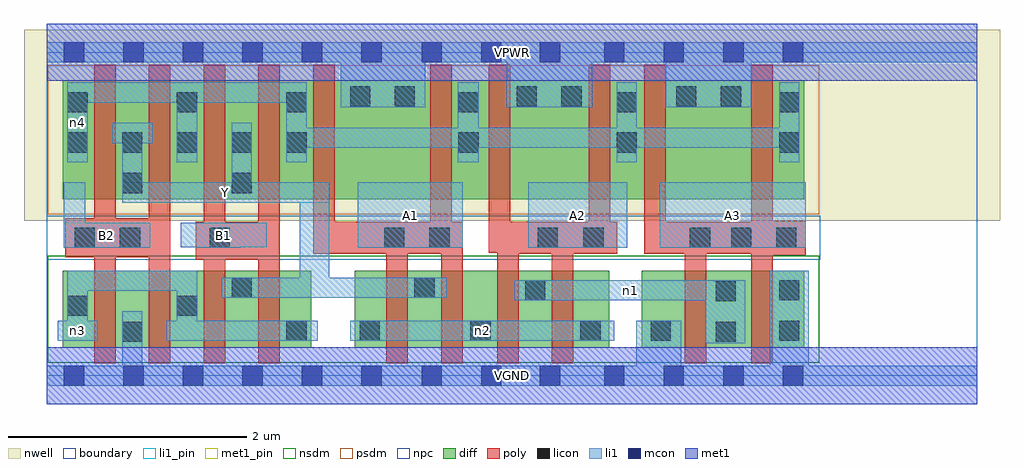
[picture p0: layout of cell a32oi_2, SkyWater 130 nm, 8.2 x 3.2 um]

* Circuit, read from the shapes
.subckt a32oi_2 A1 A2 A3 B1 B2 VGND VPWR Y n1 n2 n3 n4
XM1 VGND B2 n3 VSUBS sky130_fd_pr__nfet_01v8 w=0.65 l=0.18 m=2
XM2 Y B1 n3 VSUBS sky130_fd_pr__nfet_01v8 w=0.65 l=0.18 m=2
XM3 Y A1 n2 VSUBS sky130_fd_pr__nfet_01v8 w=0.65 l=0.18 m=2
XM4 n1 A2 n2 VSUBS sky130_fd_pr__nfet_01v8 w=0.65 l=0.18 m=2
XM5 n1 A3 VGND VSUBS sky130_fd_pr__nfet_01v8 w=0.65 l=0.18 m=2
XM6 Y B2 n4 n5 sky130_fd_pr__pfet_01v8 w=1 l=0.18 m=2
XM7 Y B1 n4 n5 sky130_fd_pr__pfet_01v8 w=1 l=0.18 m=2
XM8 VPWR A1 n4 n5 sky130_fd_pr__pfet_01v8 w=1 l=0.18 m=2
XM9 VPWR A2 n4 n5 sky130_fd_pr__pfet_01v8 w=1 l=0.18 m=2
XM10 VPWR A3 n4 n5 sky130_fd_pr__pfet_01v8 w=1 l=0.18 m=2
.ends

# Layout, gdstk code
import gdstk
lib = gdstk.Library(unit=1e-6, precision=1e-09)
def R(c, l, rs):  # rectangles x0, y0, x1, y1
    for r in rs: c.add(gdstk.rectangle(r[:2], r[2:], *l))
def A(c, l, x, y, w, h, nx, ny, dx, dy):  # array of equal rectangles
    R(c, l, [(x+i*dx, y+j*dy, x+i*dx+w, y+j*dy+h) for i in range(nx) for j in range(ny)])
nwell = (64, 20)
diff = (65, 20)
poly = (66, 20)
licon = (66, 44)
li1_pin = (67, 16)
li1 = (67, 20)
mcon = (67, 44)
met1_pin = (68, 16)
met1 = (68, 20)
nsdm = (93, 44)
psdm = (94, 20)
npc = (95, 20)
boundary = (235, 4)

a32oi_2 = lib.new_cell('a32oi_2')
R(a32oi_2, nwell, [(-0.19,1.305,8.01,2.91), (0,1.305,7.82,2.91)])
R(a32oi_2, diff, [(0.135,0.235,2.225,0.885), (2.59,0.235,4.725,0.885), (5,0.235,6.365,0.885), (0.135,1.485,6.365,2.485)])
A(a32oi_2, poly, 0.4, 0.105, 0.18, 2.51, 4, 1, 0.46, 0)
R(a32oi_2, poly, [(2.855,0.105,3.035,1.295), (3.315,0.105,3.495,1.295), (3.785,0.105,3.965,1.295), (4.245,0.105,4.425,1.295), (5.36,0.105,5.54,1.295), (5.92,0.105,6.1,2.615), (1.255,0.975,1.96,1.295), (0.155,0.995,1.04,1.325), (5.92,1.015,6.38,1.305), (2.24,1.025,3.495,1.295), (2.24,1.025,2.42,2.615), (3.225,1.025,3.405,2.615), (3.785,1.025,4.795,1.295), (4.555,1.025,4.735,2.615), (5.02,1.025,5.2,2.615), (5.02,1.025,6.38,1.295), (3.715,1.035,3.895,2.615)])
A(a32oi_2, licon, 0.175, 1.875, 0.17, 0.17, 5, 1, 0.46, 0)
A(a32oi_2, licon, 0.175, 2.215, 0.17, 0.17, 3, 1, 0.92, 0)
R(a32oi_2, licon, [(0.635,0.285,0.805,0.455), (5.62,0.285,5.79,0.455), (2.015,0.295,2.185,0.465), (2.63,0.295,2.8,0.465), (3.56,0.295,3.73,0.465), (4.485,0.295,4.655,0.465), (5.075,0.295,5.245,0.465), (6.155,0.295,6.325,0.465), (0.175,0.505,0.345,0.675), (1.095,0.505,1.265,0.675), (5.62,0.625,5.79,0.795), (4.02,0.635,4.19,0.805), (6.155,0.635,6.325,0.805), (1.555,0.655,1.725,0.825), (3.09,0.655,3.26,0.825), (0.235,1.075,0.405,1.245), (0.615,1.075,0.785,1.245), (1.37,1.075,1.54,1.245), (2.835,1.075,3.005,1.245), (3.215,1.075,3.385,1.245), (4.125,1.075,4.295,1.245), (4.51,1.075,4.68,1.245), (5.405,1.075,5.575,1.245), (5.75,1.075,5.92,1.245), (6.13,1.075,6.3,1.245), (0.635,1.535,0.805,1.705), (1.555,1.535,1.725,1.705), (3.46,1.875,3.63,2.045), (4.79,1.875,4.96,2.045), (6.155,1.875,6.325,2.045), (3.46,2.215,3.63,2.385), (4.79,2.215,4.96,2.385), (6.155,2.215,6.325,2.385), (2.55,2.265,2.72,2.435), (2.925,2.265,3.095,2.435), (3.95,2.265,4.12,2.435), (4.325,2.265,4.495,2.435), (5.29,2.265,5.46,2.435), (5.665,2.265,5.835,2.435)])
R(a32oi_2, li1_pin, [(0.145,1.075,0.87,1.285), (2.615,1.075,3.495,1.625), (4.045,1.075,4.88,1.625), (5.15,1.075,6.38,1.625), (1.125,1.08,1.85,1.285), (0.635,1.455,2.375,1.625)])
A(a32oi_2, li1, 0.175, 1.795, 0.17, 0.67, 3, 1, 0.92, 0)
R(a32oi_2, li1, [(0,-0.085,7.82,0.085), (0.635,-0.085,0.805,0.545), (4.955,-0.085,5.33,0.465), (6.075,-0.085,6.405,0.885), (5.535,0.275,5.87,0.805), (0.095,0.295,0.43,0.465), (0.175,0.295,0.345,0.885), (1.01,0.295,2.28,0.465), (1.095,0.295,1.265,0.885), (2.55,0.295,4.77,0.465), (3.935,0.635,5.87,0.805), (1.47,0.655,3.36,0.825), (2.125,0.655,2.375,1.625), (0.175,0.715,1.265,0.885), (0.145,1.075,0.87,1.285), (0.145,1.075,0.325,1.625), (1.255,1.075,1.625,1.285), (2.615,1.075,3.495,1.625), (4.045,1.075,4.88,1.625), (5.15,1.075,6.38,1.625), (1.125,1.08,1.85,1.285), (0.635,1.455,2.375,1.625), (0.635,1.455,0.805,2.125), (1.555,1.455,1.725,2.125), (3.455,1.795,3.63,2.465), (4.79,1.795,4.96,2.465), (6.155,1.795,6.325,2.465), (2.015,1.915,6.325,2.085), (0.55,1.955,0.89,2.125), (2.47,2.255,3.18,2.805), (3.865,2.255,4.585,2.805), (5.2,2.255,5.92,2.805), (0.175,2.295,2.185,2.465), (0,2.635,7.82,2.805)])
A(a32oi_2, mcon, 0.145, -0.085, 0.17, 0.17, 6, 2, 0.5, 2.72)
A(a32oi_2, mcon, 4.685, -0.085, 0.17, 0.17, 4, 2, 0.5, 2.72)
R(a32oi_2, mcon, [(3.15,-0.085,3.32,0.085), (3.65,-0.085,3.82,0.085), (4.145,-0.085,4.315,0.085), (3.15,2.635,3.32,2.805), (3.65,2.635,3.82,2.805), (4.145,2.635,4.315,2.805)])
R(a32oi_2, met1_pin, [(0,-0.24,7.82,0.24), (0,2.48,7.82,2.96)])
R(a32oi_2, met1, [(0,-0.24,7.82,0.24), (0,2.48,7.82,2.96)])
R(a32oi_2, nsdm, [(0.01,0.11,6.49,1.01)])
R(a32oi_2, psdm, [(0.01,1.36,6.49,2.61)])
R(a32oi_2, npc, [(0,0.975,6.5,1.345)])
R(a32oi_2, boundary, [(0,0,7.82,2.72)])
a32oi_2.add(gdstk.Label('A1', (3.055,1.35), layer=67, texttype=5))
a32oi_2.add(gdstk.Label('A2', (4.462,1.35), layer=67, texttype=5))
a32oi_2.add(gdstk.Label('A3', (5.765,1.35), layer=67, texttype=5))
a32oi_2.add(gdstk.Label('B1', (1.487,1.182), layer=67, texttype=5))
a32oi_2.add(gdstk.Label('B2', (0.507,1.18), layer=67, texttype=5))
a32oi_2.add(gdstk.Label('Y', (1.505,1.54), layer=67, texttype=5))
a32oi_2.add(gdstk.Label('n2', (3.66,0.38), layer=67, texttype=5))
a32oi_2.add(gdstk.Label('n1', (4.902,0.72), layer=67, texttype=5))
a32oi_2.add(gdstk.Label('n3', (0.262,0.38), layer=67, texttype=5))
a32oi_2.add(gdstk.Label('n4', (0.26,2.13), layer=67, texttype=5))
a32oi_2.add(gdstk.Label('VPWR', (3.91,2.72), layer=68, texttype=5))
a32oi_2.add(gdstk.Label('VGND', (3.91,0), layer=68, texttype=5))
a32oi_2.add(gdstk.Label('A1', (3.055,1.35), layer=67, texttype=16))
a32oi_2.add(gdstk.Label('A2', (4.462,1.35), layer=67, texttype=16))
a32oi_2.add(gdstk.Label('A3', (5.765,1.35), layer=67, texttype=16))
a32oi_2.add(gdstk.Label('B1', (1.487,1.182), layer=67, texttype=16))
a32oi_2.add(gdstk.Label('B2', (0.507,1.18), layer=67, texttype=16))
a32oi_2.add(gdstk.Label('Y', (1.505,1.54), layer=67, texttype=16))
a32oi_2.add(gdstk.Label('VPWR', (3.91,2.72), layer=68, texttype=16))
a32oi_2.add(gdstk.Label('VGND', (3.91,0), layer=68, texttype=16))

lib.write_gds('a32oi_2.gds')
